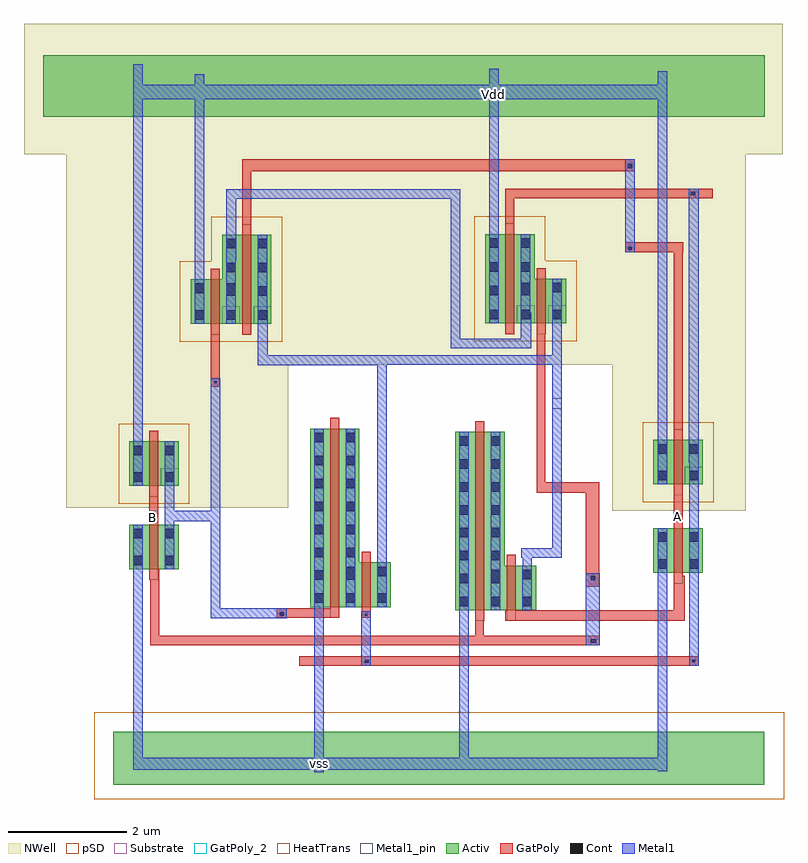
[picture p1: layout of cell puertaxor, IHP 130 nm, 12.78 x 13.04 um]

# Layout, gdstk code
import gdstk
lib = gdstk.Library(unit=1e-6, precision=5e-09)
def R(c, l, rs):  # rectangles x0, y0, x1, y1
    for r in rs: c.add(gdstk.rectangle(r[:2], r[2:], *l))
def A(c, l, x, y, w, h, nx, ny, dx, dy):  # array of equal rectangles
    R(c, l, [(x+i*dx, y+j*dy, x+i*dx+w, y+j*dy+h) for i in range(nx) for j in range(ny)])
Activ = (1, 0)
GatPoly = (5, 0)
GatPoly_2 = (5, 2)
Cont = (6, 0)
Metal1 = (8, 0)
Metal1_pin = (8, 2)
pSD = (14, 0)
NWell = (31, 0)
Substrate = (40, 0)
HeatTrans = (51, 0)

pmos_2 = lib.new_cell('pmos$2')
R(pmos_2, Activ, [(0,0,0.3,0.3), (0,0,0.83,0.75), (0.53,0,0.83,0.3)])
R(pmos_2, GatPoly, [(0.34,-0.18,0.49,0.93), (0.34,-0.18,0.49,0.93)])
R(pmos_2, Cont, [(0.07,0.07,0.23,0.23), (0.6,0.07,0.76,0.23), (0.07,0.52,0.23,0.68), (0.6,0.52,0.76,0.68)])
R(pmos_2, Metal1, [(0.07,0,0.23,0.75), (0.07,0,0.23,0.75), (0.6,0,0.76,0.75), (0.6,0,0.76,0.75)])
R(pmos_2, pSD, [(-0.18,-0.3,1.01,1.05)])
R(pmos_2, NWell, [(-0.31,-0.31,1.14,1.06)])
R(pmos_2, Substrate, [(0.53,0,0.83,0.3)])
R(pmos_2, HeatTrans, [(0.34,-0.18,0.49,0.93)])
pmos_2.add(gdstk.Label('pmos', (0.415,0.375), layer=63, texttype=0))
pmos_2.add(gdstk.Label('pmos', (0.415,0.375), layer=51, texttype=0))

pmos_1_2 = lib.new_cell('pmos$1$2')
R(pmos_1_2, Activ, [(0,0,0.3,0.3), (0,0,0.83,1.5), (0.53,0,0.83,0.3)])
R(pmos_1_2, GatPoly, [(0.34,-0.18,0.49,1.68), (0.34,-0.18,0.49,1.68)])
A(pmos_1_2, Cont, 0.07, 0.07, 0.16, 0.16, 1, 4, 0, 0.4)
A(pmos_1_2, Cont, 0.6, 0.07, 0.16, 0.16, 1, 4, 0, 0.4)
R(pmos_1_2, Metal1, [(0.07,0,0.23,1.5), (0.07,0,0.23,1.5), (0.6,0,0.76,1.5), (0.6,0,0.76,1.5)])
R(pmos_1_2, pSD, [(-0.18,-0.3,1.01,1.8)])
R(pmos_1_2, NWell, [(-0.31,-0.31,1.14,1.81)])
R(pmos_1_2, Substrate, [(0.53,0,0.83,0.3)])
R(pmos_1_2, HeatTrans, [(0.34,-0.18,0.49,1.68)])
pmos_1_2.add(gdstk.Label('pmos', (0.415,0.75), layer=63, texttype=0))
pmos_1_2.add(gdstk.Label('pmos', (0.415,0.75), layer=51, texttype=0))

nmos_2 = lib.new_cell('nmos$2')
R(nmos_2, Activ, [(0,0,0.3,0.3), (0,0,0.83,0.75), (0.53,0,0.83,0.3)])
R(nmos_2, GatPoly, [(0.34,-0.18,0.49,0.93)])
R(nmos_2, GatPoly_2, [(0.34,-0.18,0.49,0.93)])
R(nmos_2, Cont, [(0.07,0.07,0.23,0.23), (0.6,0.07,0.76,0.23), (0.07,0.52,0.23,0.68), (0.6,0.52,0.76,0.68)])
R(nmos_2, Metal1, [(0.07,0,0.23,0.75), (0.6,0,0.76,0.75)])
R(nmos_2, Metal1_pin, [(0.07,0,0.23,0.75), (0.6,0,0.76,0.75)])
R(nmos_2, HeatTrans, [(0.34,-0.18,0.49,0.93)])
nmos_2.add(gdstk.Label('nmos', (0.415,0.375), layer=63, texttype=0))
nmos_2.add(gdstk.Label('nmos', (0.415,0.375), layer=51, texttype=0))

nmos_1_2 = lib.new_cell('nmos$1$2')
R(nmos_1_2, Activ, [(0,0,0.3,0.3), (0,0,0.83,3), (0.53,0,0.83,0.3)])
R(nmos_1_2, GatPoly, [(0.34,-0.18,0.49,3.18)])
R(nmos_1_2, GatPoly_2, [(0.34,-0.18,0.49,3.18)])
A(nmos_1_2, Cont, 0.07, 0.07, 0.16, 0.16, 1, 7, 0, 0.385)
A(nmos_1_2, Cont, 0.6, 0.07, 0.16, 0.16, 1, 7, 0, 0.385)
R(nmos_1_2, Cont, [(0.07,2.77,0.23,2.93), (0.6,2.77,0.76,2.93)])
R(nmos_1_2, Metal1, [(0.07,0,0.23,3), (0.6,0,0.76,3)])
R(nmos_1_2, Metal1_pin, [(0.07,0,0.23,3), (0.6,0,0.76,3)])
R(nmos_1_2, HeatTrans, [(0.34,-0.18,0.49,3.18)])
nmos_1_2.add(gdstk.Label('nmos', (0.415,1.5), layer=63, texttype=0))
nmos_1_2.add(gdstk.Label('nmos', (0.415,1.5), layer=51, texttype=0))

puertaxor = lib.new_cell('puertaxor')
R(puertaxor, Activ, [(1.23,-3.525,12.175,-2.63), (0.055,7.705,12.19,8.745)])
R(puertaxor, GatPoly, [(4.36,-1.52,11.075,-1.36), (1.85,-1.175,8,-1.015), (1.85,-1.175,2.005,0.1), (7.32,-1.175,7.465,-0.52), (7.615,-1.175,9.415,-1.015), (7.825,-0.77,10.84,-0.59), (10.655,-0.77,10.84,-0.01), (3.98,-0.715,5.03,-0.56), (9.18,-0.195,9.4,1.56), (10.655,0.43,10.805,1.595), (1.84,0.6,1.99,1.425), (8.355,1.385,8.495,4.195), (8.355,1.385,9.4,1.56), (10.66,2.29,10.805,5.6), (2.87,3.17,3.02,4.155), (9.84,5.43,10.82,5.6), (3.4,5.505,3.55,6.995), (7.825,5.555,7.975,6.5), (7.825,6.335,11.31,6.5), (3.4,6.79,10,6.995)])
R(puertaxor, GatPoly_2, [(1.84,0.91,1.99,1.08), (10.655,0.915,10.805,1.03)])
R(puertaxor, Cont, [(4.665,-3.21,4.725,-3.14), (5.46,-1.475,5.525,-1.425), (10.965,-1.465,11.02,-1.425), (9.26,-1.14,9.355,-1.075), (4.03,-0.68,4.1,-0.62), (5.47,-0.68,5.505,-0.645), (9.26,-0.085,9.335,-0.01), (2.925,3.225,2.975,3.265), (9.895,5.475,9.95,5.525), (10.945,6.385,11.02,6.445), (9.88,6.84,9.96,6.915), (7.605,8.04,7.685,8.15)])
R(puertaxor, Metal1, [(4.61,-3.31,4.77,-0.25), (10.385,-3.3,10.545,0.19), (1.57,-3.275,1.73,0.355), (1.57,-3.275,10.545,-3.07), (7.05,-3.235,7.21,-0.3), (5.405,-1.52,5.565,-0.605), (10.915,-1.52,11.075,0.105), (9.18,-1.175,9.415,0.03), (2.87,-0.72,3.03,1.07), (2.87,-0.72,4.15,-0.56), (8.115,-0.06,8.27,0.45), (5.67,0,5.83,3.7), (8.09,0.29,8.775,0.45), (8.615,0.29,8.775,2.955), (2.1,0.555,2.26,1.735), (10.915,0.62,11.075,1.75), (2.1,0.905,3.03,1.08), (2.87,0.905,3.03,3.31), (1.57,1.875,1.73,8.595), (10.385,1.9,10.545,8.475), (10.91,1.9,11.075,6.5), (8.615,2.68,8.775,4.385), (3.66,3.53,3.825,4.455), (3.665,3.53,5.83,3.7), (5.665,3.535,8.775,3.7), (6.905,3.815,7.07,6.49), (6.905,3.815,8.26,3.975), (8.085,3.815,8.26,4.425), (2.6,4.6,2.76,8.425), (7.555,4.985,7.715,8.52), (3.13,5.295,3.3,6.49), (9.84,5.43,10,6.995), (3.13,6.33,7.025,6.49), (1.57,8,10.545,8.25)])
R(puertaxor, Metal1_pin, [(4.665,-3.21,4.725,-3.14), (8.615,2.795,8.775,2.975), (7.605,8.04,7.685,8.15)])
R(puertaxor, pSD, [(0.91,-3.765,12.51,-2.305)])
R(puertaxor, NWell, [(9.625,1.08,11.87,8.605), (0.44,1.13,4.175,8.37), (3.395,3.535,9.975,8.745), (-0.27,7.08,12.49,9.27)])
puertaxor.add(gdstk.Reference(pmos_2, (8.015,4.235)))
puertaxor.add(gdstk.Reference(pmos_1_2, (7.485,4.235)))
puertaxor.add(gdstk.Reference(nmos_2, (5.07,-0.535)))
puertaxor.add(gdstk.Reference(nmos_1_2, (6.98,-0.59)))
puertaxor.add(gdstk.Reference(nmos_2, (7.51,-0.59)))
puertaxor.add(gdstk.Reference(nmos_1_2, (4.54,-0.535)))
puertaxor.add(gdstk.Reference(pmos_2, (1.5,1.5)))
puertaxor.add(gdstk.Reference(pmos_2, (10.315,1.525)))
puertaxor.add(gdstk.Reference(nmos_2, (1.5,0.1)))
puertaxor.add(gdstk.Reference(nmos_2, (10.315,0.04)))
puertaxor.add(gdstk.Reference(pmos_2, (2.53,4.225)))
puertaxor.add(gdstk.Reference(pmos_1_2, (3.06,4.225)))
puertaxor.add(gdstk.Label('Vdd', (7.625,8.08), layer=6, texttype=0))
puertaxor.add(gdstk.Label('vss', (4.695,-3.175), layer=8, texttype=2))
puertaxor.add(gdstk.Label('A', (10.715,0.985), layer=5, texttype=2))
puertaxor.add(gdstk.Label('B', (1.89,0.975), layer=5, texttype=2))

lib.write_gds('puertaxor.gds')
